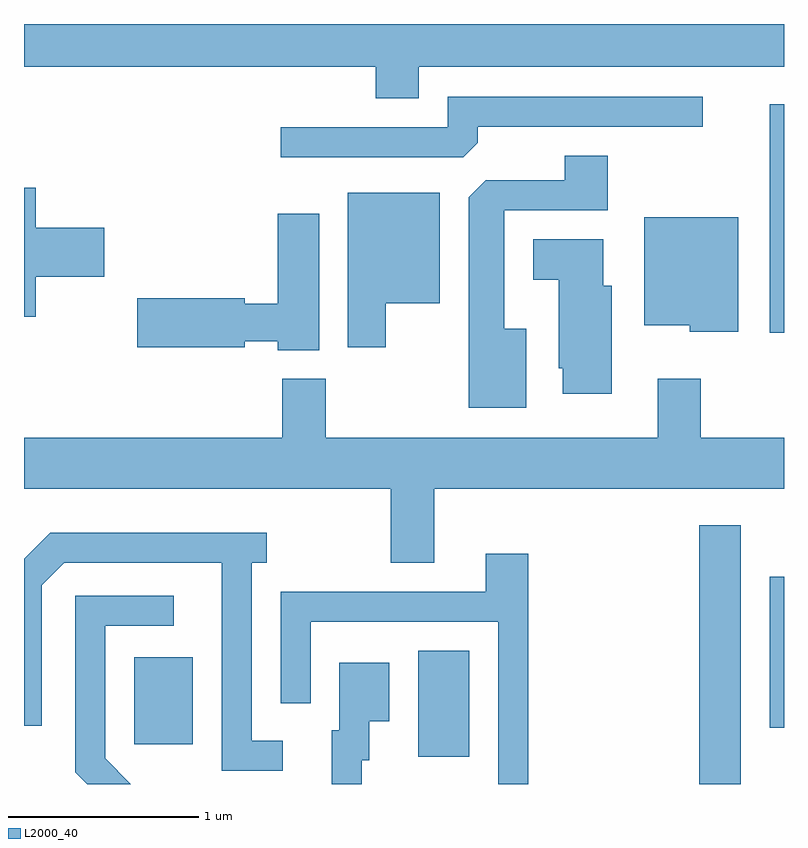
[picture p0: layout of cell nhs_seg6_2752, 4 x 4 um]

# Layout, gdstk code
import gdstk
lib = gdstk.Library(unit=1e-6, precision=1e-09)
def R(c, l, rs):  # rectangles x0, y0, x1, y1
    for r in rs: c.add(gdstk.rectangle(r[:2], r[2:], *l))
def P(c, l, *ps):  # polygons
    for p in ps: c.add(gdstk.Polygon(p, *l))
L2000_40 = (2000, 40)

nhs_seg6_2752 = lib.new_cell('nhs_seg6_2752')
R(nhs_seg6_2752, L2000_40, [(271.166,1646.162,271.384,1647.524), (269.686,1646.306,269.954,1646.864), (268.191,1646.371,268.499,1646.829), (271.536,1646.458,271.611,1647.254), (271.536,1648.536,271.611,1649.739)])
P(nhs_seg6_2752, L2000_40, [(269.689,1649.936),(271.611,1649.936),(271.611,1650.162),(267.611,1650.162),(267.611,1649.936),(269.461,1649.936),(269.461,1649.771),(269.689,1649.771)],
  [(269.999,1649.537),(269.999,1649.621),(271.183,1649.621),(271.183,1649.779),(269.841,1649.779),(269.841,1649.619),(268.963,1649.619),(268.963,1649.461),(269.924,1649.461)],
  [(270.254,1648.559),(270.139,1648.559),(270.139,1649.181),(270.684,1649.181),(270.684,1649.469),(270.456,1649.469),(270.456,1649.339),(270.042,1649.339),(269.951,1649.249),(269.951,1648.141),(270.254,1648.141)],
  [(267.674,1648.831),(268.034,1648.831),(268.034,1649.089),(267.674,1649.089),(267.674,1649.299),(267.611,1649.299),(267.611,1648.621),(267.674,1648.621)],
  [(269.514,1648.691),(269.799,1648.691),(269.799,1649.274),(269.316,1649.274),(269.316,1648.461),(269.514,1648.461)],
  [(269.164,1649.164),(268.946,1649.164),(268.946,1648.689),(268.774,1648.689),(268.774,1648.719),(268.206,1648.719),(268.206,1648.461),(268.774,1648.461),(268.774,1648.491),(268.946,1648.491),(268.946,1648.446),(269.164,1648.446)],
  [(271.369,1649.144),(270.876,1649.144),(270.876,1648.576),(271.116,1648.576),(271.116,1648.541),(271.369,1648.541)],
  [(270.704,1648.784),(270.659,1648.784),(270.659,1649.029),(270.291,1649.029),(270.291,1648.816),(270.426,1648.816),(270.426,1648.351),(270.446,1648.351),(270.446,1648.216),(270.704,1648.216)],
  [(269.769,1647.716),(271.611,1647.716),(271.611,1647.984),(271.174,1647.984),(271.174,1648.294),(270.946,1648.294),(270.946,1647.984),(269.199,1647.984),(269.199,1648.294),(268.971,1648.294),(268.971,1647.984),(267.611,1647.984),(267.611,1647.716),(269.541,1647.716),(269.541,1647.326),(269.769,1647.326)],
  [(268.973,1646.389),(268.809,1646.389),(268.809,1647.326),(268.888,1647.326),(268.888,1647.484),(267.749,1647.484),(267.611,1647.347),(267.611,1646.468),(267.704,1646.468),(267.704,1647.209),(267.822,1647.326),(268.651,1647.326),(268.651,1646.231),(268.973,1646.231)],
  [(270.264,1647.374),(270.041,1647.374),(270.041,1647.174),(268.961,1647.174),(268.961,1646.588),(269.119,1646.588),(269.119,1647.016),(270.106,1647.016),(270.106,1646.162),(270.264,1646.162)],
  [(268.039,1646.297),(268.039,1646.996),(268.398,1646.996),(268.398,1647.154),(267.881,1647.154),(267.881,1646.224),(267.943,1646.162),(268.174,1646.162)],
  [(269.389,1646.286),(269.429,1646.286),(269.429,1646.491),(269.534,1646.491),(269.534,1646.799),(269.271,1646.799),(269.271,1646.444),(269.231,1646.444),(269.231,1646.162),(269.389,1646.162)])

lib.write_gds('nhs_seg6_2752.gds')
